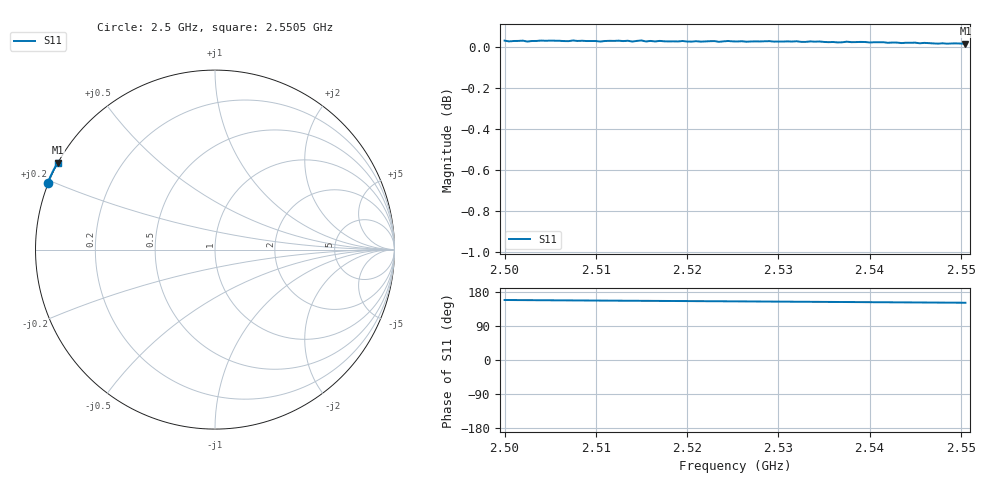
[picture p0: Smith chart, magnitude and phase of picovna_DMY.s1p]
!  27/01/2025  08:23:54
! Ref Plane: 0.000 mm
# MHZ S MA R  50
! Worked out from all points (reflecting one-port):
!   102 points, 2.5 GHz to 2.5505 GHz, reference 50 ohm
!   lowest |S11| = 0.0 dB at 2.5505 GHz (marker M1)
!   phase of S11 starts at 158 deg and turns -7 deg over the sweep
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2500  1.003 158.3
2500.5  1.003 158.3
2501.5  1.003 158.1
2502  1.003 158.0
2502.5  1.003 158.0
2504  1.003 157.7
2506.5  1.003 157.4
2513  1.003 156.4
2513.5  1.003 156.4
2514  1.003 156.3
2515  1.004 156.2
2515.5  1.003 156.1
2516  1.003 156.0
2519  1.003 155.6
2519.5  1.003 155.6
2520.5  1.003 155.4
2525.5  1.003 154.7
2532  1.003 153.8
2532.5  1.003 153.7
2534  1.003 153.5
2534.5  1.003 153.4
2536.5  1.002 153.1
2537.5  1.003 153.0
2538  1.003 152.9
2541.5  1.003 152.4
2542  1.002 152.3
2544.5  1.002 151.9
2550.5  1.002 151.1
